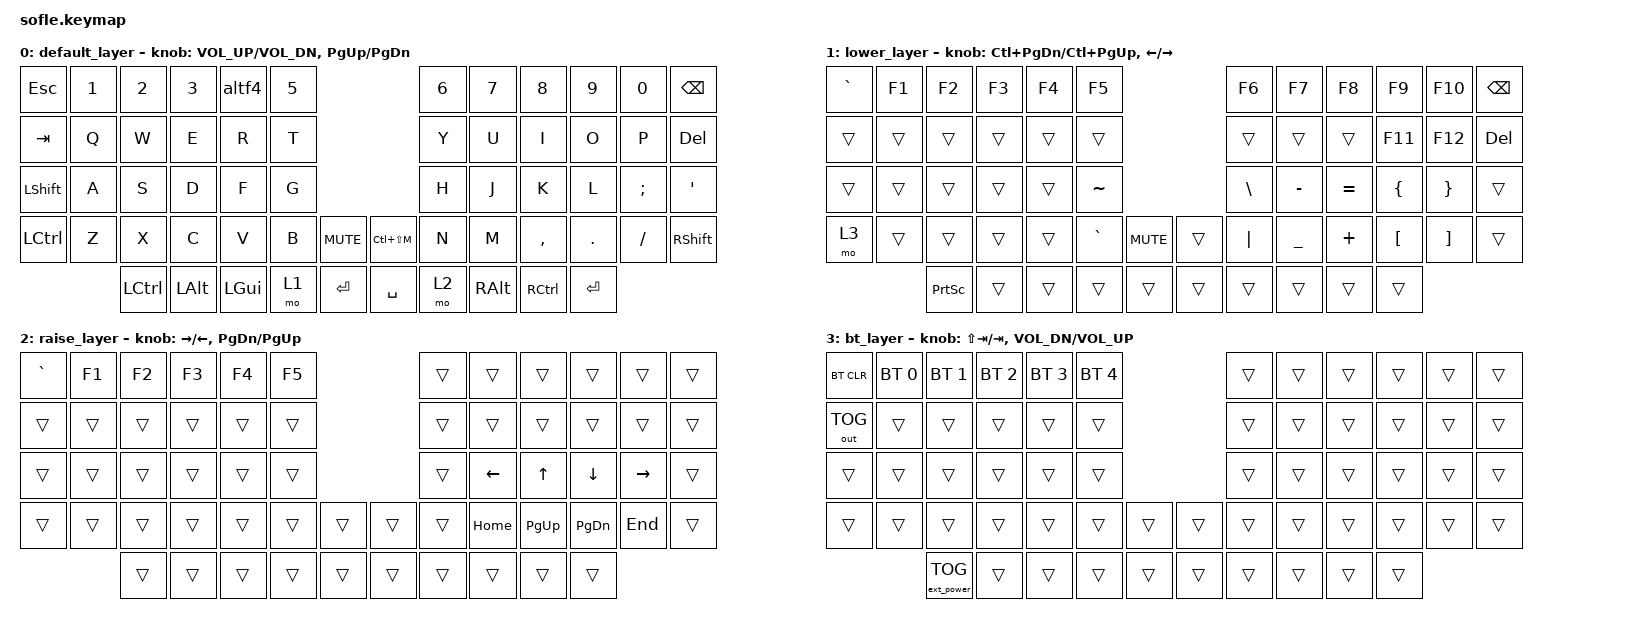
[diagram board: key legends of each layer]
/*
 * Copyright (c) 2020 The ZMK Contributors
 *
 * SPDX-License-Identifier: MIT
 */

#include <behaviors.dtsi>
#include <dt-bindings/zmk/keys.h>
#include <dt-bindings/zmk/bt.h>
#include <dt-bindings/zmk/outputs.h>
#include <dt-bindings/zmk/ext_power.h>

/ {

    behaviors {
        altf4: alt_f4 {
            compatible = "zmk,behavior-mod-morph";
            label = "ALT_F4";
            #binding-cells = <0>;
            bindings = <&kp N4>, <&kp LA(F4)>;
            mods = <(MOD_LALT)>;
        };
    };

    keymap {
        compatible = "zmk,keymap";

        default_layer {
        // --------------------------------------------                                  -----------------------------------------------
        // |  ESC    |  1  |  2  |  3   |  4   |  5   |                                  |  6   |  7    |  8    |  9   |   0   | BSPC  |
        // |  TAB    |  Q  |  W  |  E   |  R   |  T   |                                  |  Y   |  U    |  I    |  O   |   P   | DEL   |
        // | SHIFT   |  A  |  S  |  D   |  F   |  G   |                                  |  H   |  J    |  K    |  L   |   ;   |   '   |
        // | CTRL    |  Z  |  X  |  C   |  V   |  B   |  MUTE  |             | LC(LS(M)) |  N   |  M    |  ,    |  .   |   /   | SHIFT |
        //                 |CTRL | ALT  | GUI  | LOWER|  ENTER |             | SPACE     | RAISE| CTRL  | ALT   | GUI  |
                        bindings = < 
            &kp ESC   &kp N1 &kp N2    &kp N3   &altf4    &kp N5                             &kp N6 &kp N7    &kp N8    &kp N9   &kp N0   &kp BSPC
            &kp TAB   &kp Q  &kp W     &kp E    &kp R     &kp T                              &kp Y  &kp U     &kp I     &kp O    &kp P    &kp DEL
            &kp LSHFT &kp A  &kp S     &kp D    &kp F     &kp G                              &kp H  &kp J     &kp K     &kp L    &kp SEMI &kp SQT
            &kp LCTRL &kp Z  &kp X     &kp C    &kp V     &kp B  &kp C_MUTE   &kp LC(LS(M))  &kp N  &kp M     &kp COMMA &kp DOT  &kp FSLH &kp RSHFT
                             &kp LCTRL &kp LALT &kp LGUI  &mo 1  &kp RET      &kp SPACE      &mo 2  &kp RALT  &kp RCTL  &kp ENTER
                        >;
            
            sensor-bindings = <&inc_dec_kp C_VOL_UP C_VOL_DN &inc_dec_kp PG_UP PG_DN>;
        };

        lower_layer {
            // ------------------------------------------                                           ------------------------------------------------------------
            // | `     |  F1 |  F2 |  F3  |  F4  |  F5  |                                           |  F6     |  F7      |  F8    |  F9     |  F10     | BSPC  |
            // |       |     |     |      |      |      |                                           |         |          |        |  F11    |  F12     |  DEL  |
            // |       |     |     |      |      |   ~  |                                           |  \      |   -      |  =     |  {      |   }      |       |
            // |BTLAYER|     |     |      |      |   `  | MUTE   |                           |      |  |      |   _      |  +     |  [      |   ]      |       |
            //               |     |      |      |      |        |                           |      |         |          |        |         |
                           bindings = <
            &kp GRAVE &kp F1    &kp F2    &kp F3      &kp F4    &kp F5                               &kp F6    &kp F7    &kp F8    &kp F9    &kp F10   &kp BSPC
            &trans    &trans    &trans    &trans      &trans    &trans                               &trans    &trans    &trans    &kp F11   &kp F12   &kp DEL
            &trans    &trans    &trans    &trans      &trans    &kp TILDE                            &kp BSLH  &kp MINUS &kp EQUAL &kp LBRC  &kp RBRC  &trans  
            &mo 3     &trans    &trans    &trans      &trans    &kp GRAVE &kp C_MUTE        &trans   &kp PIPE  &kp UNDER &kp PLUS  &kp LBKT  &kp RBKT  &trans
                                &kp PSCRN &trans      &trans    &trans    &trans            &trans   &trans    &trans    &trans    &trans
                        >;

            sensor-bindings = <&inc_dec_kp LC(PG_DN) LC(PG_UP) &inc_dec_kp LEFT RIGHT>;
        };

        raise_layer {
            // ------------------------------------------                                                  -----------------------------------------------
            // | `     |  F1 |  F2 |  F3  |  F4  |  F5  |                                                  |      |       |       |      |       |       |
            // |       |     |     |      |      |      |                                                  |      |       |       |      |       |       |
            // |       |     |     |      |      |      |                                                  |      |   <-  |   ^   |   v  |   ->  |       |
            // |       |     |     |      |      |      |      |                                    |      |      |  Home | PgUp  | PgDn |  End  |       |
            //               |     |      |      |      |      |                                    |      |      |       |       |      |
                        bindings = <
            &kp GRAVE &kp F1    &kp F2    &kp F3      &kp F4    &kp F5                                   &trans    &trans    &trans    &trans    &trans    &trans
            &trans    &trans    &trans    &trans      &trans    &trans                                   &trans    &trans    &trans    &trans    &trans    &trans
            &trans    &trans    &trans    &trans      &trans    &trans                                   &trans    &kp LEFT  &kp UP    &kp DOWN  &kp RIGHT &trans
            &trans    &trans    &trans    &trans      &trans    &trans    &trans                 &trans  &trans    &kp HOME  &kp PG_UP &kp PG_DN &kp END   &trans
                                &trans    &trans      &trans    &trans    &trans                 &trans  &trans    &trans    &trans    &trans
                        >;

            sensor-bindings = <&inc_dec_kp RIGHT LEFT &inc_dec_kp PG_DN PG_UP>;
        };

        bt_layer {
            // ---------------------------------------------------------------                                               ------------------------------------------
            // | BTCLR    | BT0      | BT1     |  BT2    |  BT3    |  BT4    |                                               |      |      |       |      |     |     |
            // | OUTTOG   |          |         |         |         |         |                                               |      |      |       |      |     |     |
            // |          |          |         |         |         |         |                                               |      |      |       |      |     |     |
            // |          |          |         |         |         |         |      |                                 |      |      |      |       |      |     |     |
            //                       |         |         |         |         |      |                                 |      |      |      |       |      |
                        bindings = <
            &bt BT_CLR     &bt BT_SEL 0  &bt BT_SEL 1       &bt BT_SEL 2  &bt BT_SEL 3  &bt BT_SEL 4                          &trans  &trans  &trans  &trans  &trans  &trans
            &out OUT_TOG   &trans        &trans             &trans        &trans        &trans                                &trans  &trans  &trans  &trans  &trans  &trans
            &trans         &trans        &trans             &trans        &trans        &trans                                &trans  &trans  &trans  &trans  &trans  &trans
            &trans         &trans        &trans             &trans        &trans        &trans        &trans          &trans  &trans  &trans  &trans  &trans  &trans  &trans
                                         &ext_power EP_TOG  &trans        &trans        &trans        &trans          &trans  &trans  &trans  &trans  &trans
                        >;
            
            sensor-bindings = <&inc_dec_kp LS(TAB) TAB &inc_dec_kp C_VOL_DN C_VOL_UP>;
        };
    };
};
